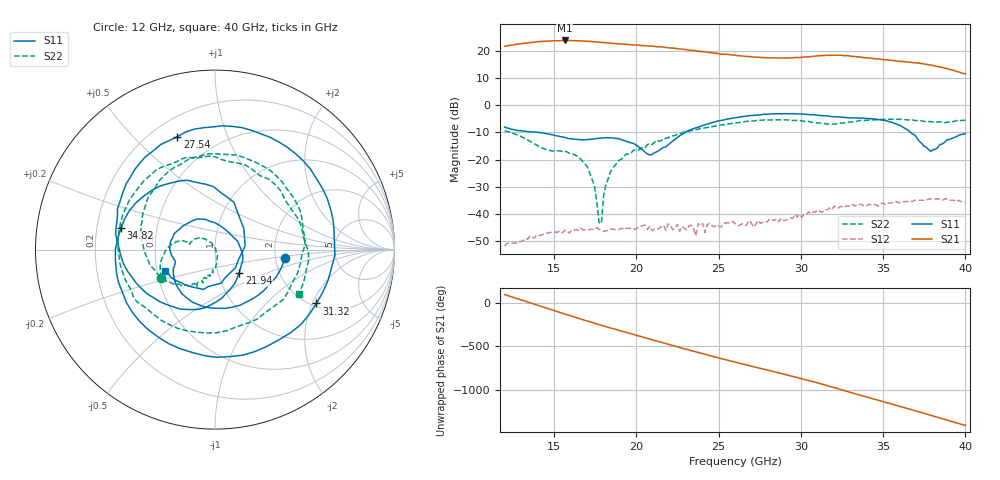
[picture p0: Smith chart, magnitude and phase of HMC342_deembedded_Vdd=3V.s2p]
!Hittite Microwave Corporation
!12 Elizabeth Drive
!Chelmsford, MA 01824
!Tel: 978-250-3343
!Fax: 978-250-3373
!Device: HMC342, 13-25 GHz, GaAs MMIC Low Noise Amlifier Die
!Misc: Vdd=3V, Data includes (two) K connectors, Room
# MHZ S MA R 50
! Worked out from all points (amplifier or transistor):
!   201 points, 12 GHz to 40 GHz, reference 50 ohm
!   highest |S21| = 23.7 dB at 15.64 GHz (marker M1)
!   |S21| within 3 dB of that: start of sweep to 22.45 GHz
!   unconditionally stable (mu >= 1): start of sweep to end of sweep
!   at 16.62 GHz: K = 5.68, MAG = 23.8 dB, |S12| = -45.1 dB
!   at 26 GHz: K = 4.30, MAG = 21.6 dB, |S12| = -43.4 dB
!   at 40 GHz: K = 5.33, MAG = 13.2 dB, |S12| = -35.4 dB
!   S11 on the Smith chart (normalised r, x): 12 GHz: 2.26, -0.26; 21.94 GHz: 1.26, -0.34; 27.54 GHz: 0.30, +0.68; 31.32 GHz: 2.12, -2.15; 34.82 GHz: 0.30, +0.10; 40 GHz: 0.55, -0.14
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12000  0.394 -7.1  12.03 91.5  0.00258 178.7  0.338 -152.0
13680  0.324 -100.8  14.22 -11.2  0.003698 107.0  0.205 166.5
14800  0.29 -139.0  15.11 -79.8  0.004617 50.7  0.146 167.4
15640  0.257 -155.1  15.39 -130.5  0.004988 6.7  0.142 163.0
16760  0.23 -163.9  15.05 162.9  0.005159 -45.9  0.091 137.0
18020  0.251 -179.4  14.06 90.6  0.004829 -100.0  0.022 -68.6
19280  0.224 145.2  13.19 22.0  0.005219 -160.3  0.118 -97.1
20120  0.175 106.8  12.66 -22.8  0.005696 162.9  0.149 -105.0
21380  0.147 -1.7  11.78 -89.6  0.005477 107.9  0.218 -116.0
21940  0.187 -43.7  11.29 -119.3  0.006609 78.8  0.251 -128.0
23060  0.329 -99.9  10.42 -177.8  0.005156 28.6  0.33 -148.6
24320  0.451 -146.7  9.412 118.3  0.006427 -24.6  0.389 -176.9
26000  0.589 157.3  8.234 36.6  0.006756 -103.3  0.474 141.6
27540  0.663 108.4  7.499 -35.8  0.006781 -156.7  0.527 101.3
29220  0.698 54.7  7.367 -112.7  0.008111 136.4  0.534 49.9
30760  0.669 -2.6  7.877 171.7  0.011 78.3  0.482 -9.6
31320  0.64 -27.9  8.143 141.9  0.011 58.2  0.471 -36.4
33420  0.581 -129.9  7.723 26.9  0.015 -47.2  0.505 -140.4
34820  0.538 167.2  6.973 -47.2  0.015 -111.5  0.546 168.4
35380  0.497 143.3  6.722 -76.8  0.016 -139.4  0.551 149.9
37200  0.217 48.9  5.88 -175.4  0.018 132.4  0.522 93.5
40000  0.3 -157.1  3.752 29.7  0.017 -8.1  0.527 -27.9
